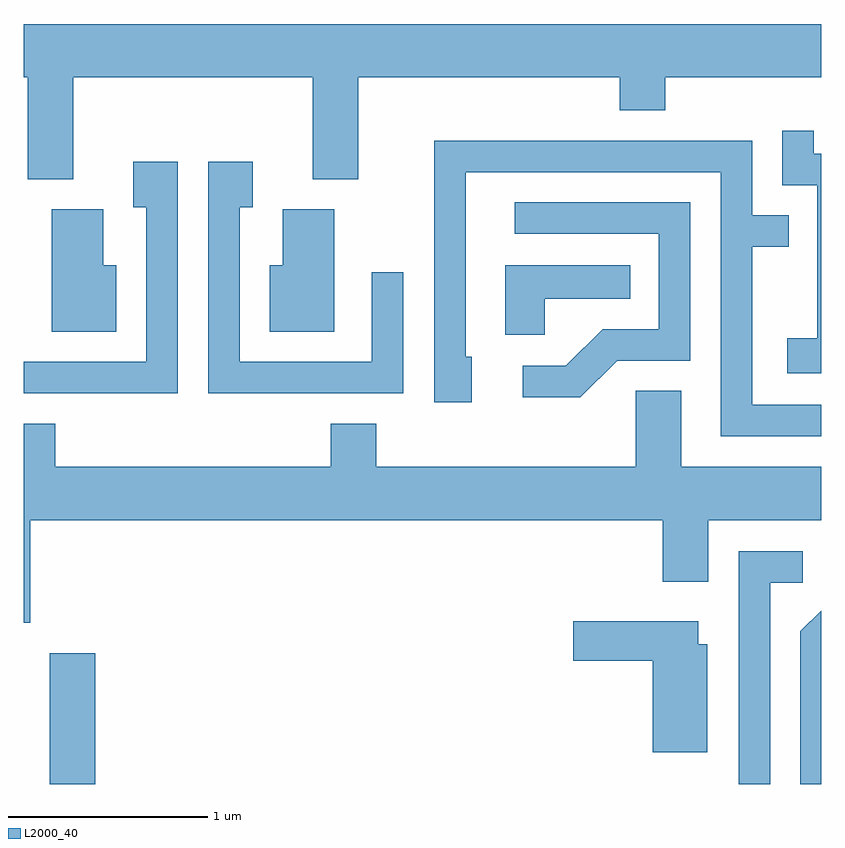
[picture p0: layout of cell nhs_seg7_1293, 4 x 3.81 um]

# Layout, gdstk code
import gdstk
lib = gdstk.Library(unit=1e-6, precision=1e-09)
def R(c, l, rs):  # rectangles x0, y0, x1, y1
    for r in rs: c.add(gdstk.rectangle(r[:2], r[2:], *l))
def P(c, l, *ps):  # polygons
    for p in ps: c.add(gdstk.Polygon(p, *l))
L2000_40 = (2000, 40)

nhs_seg7_1293 = lib.new_cell('nhs_seg7_1293')
R(nhs_seg7_1293, L2000_40, [(223.741,1786.252,223.969,1786.909)])
P(nhs_seg7_1293, L2000_40, [(223.611,1789.796),(223.631,1789.796),(223.631,1789.286),(223.859,1789.286),(223.859,1789.796),(225.061,1789.796),(225.061,1789.286),(225.289,1789.286),(225.289,1789.796),(226.601,1789.796),(226.601,1789.631),(226.829,1789.631),(226.829,1789.796),(227.611,1789.796),(227.611,1790.064),(223.611,1790.064)],
  [(227.611,1789.414),(227.574,1789.414),(227.574,1789.528),(227.416,1789.528),(227.416,1789.256),(227.591,1789.256),(227.591,1788.489),(227.441,1788.489),(227.441,1788.311),(227.611,1788.311)],
  [(227.611,1788.154),(227.264,1788.154),(227.264,1788.946),(227.448,1788.946),(227.448,1789.104),(227.264,1789.104),(227.264,1789.479),(225.671,1789.479),(225.671,1788.166),(225.859,1788.166),(225.859,1788.394),(225.829,1788.394),(225.829,1789.321),(227.106,1789.321),(227.106,1787.996),(227.611,1787.996)],
  [(225.514,1788.818),(225.356,1788.818),(225.356,1788.369),(224.694,1788.369),(224.694,1789.146),(224.759,1789.146),(224.759,1789.374),(224.536,1789.374),(224.536,1788.211),(225.514,1788.211)],
  [(224.384,1789.374),(224.161,1789.374),(224.161,1789.146),(224.226,1789.146),(224.226,1788.369),(223.611,1788.369),(223.611,1788.211),(224.384,1788.211)],
  [(226.587,1788.376),(226.954,1788.376),(226.954,1789.169),(226.073,1789.169),(226.073,1789.011),(226.796,1789.011),(226.796,1788.534),(226.514,1788.534),(226.329,1788.349),(226.113,1788.349),(226.113,1788.191),(226.402,1788.191)],
  [(225.169,1789.134),(224.911,1789.134),(224.911,1788.854),(224.846,1788.854),(224.846,1788.521),(225.169,1788.521)],
  [(224.074,1788.854),(224.009,1788.854),(224.009,1789.134),(223.751,1789.134),(223.751,1788.521),(224.074,1788.521)],
  [(226.224,1788.686),(226.653,1788.686),(226.653,1788.854),(226.026,1788.854),(226.026,1788.506),(226.224,1788.506)],
  [(223.644,1787.576),(226.816,1787.576),(226.816,1787.266),(227.044,1787.266),(227.044,1787.576),(227.611,1787.576),(227.611,1787.844),(226.909,1787.844),(226.909,1788.224),(226.681,1788.224),(226.681,1787.844),(225.379,1787.844),(225.379,1788.059),(225.151,1788.059),(225.151,1787.844),(223.769,1787.844),(223.769,1788.059),(223.611,1788.059),(223.611,1787.061),(223.644,1787.061)],
  [(227.354,1787.261),(227.518,1787.261),(227.518,1787.419),(227.196,1787.419),(227.196,1786.252),(227.354,1786.252)],
  [(227.611,1787.122),(227.506,1787.017),(227.506,1786.252),(227.611,1786.252)],
  [(227.039,1786.954),(226.994,1786.954),(226.994,1787.069),(226.366,1787.069),(226.366,1786.871),(226.766,1786.871),(226.766,1786.411),(227.039,1786.411)])

lib.write_gds('nhs_seg7_1293.gds')
